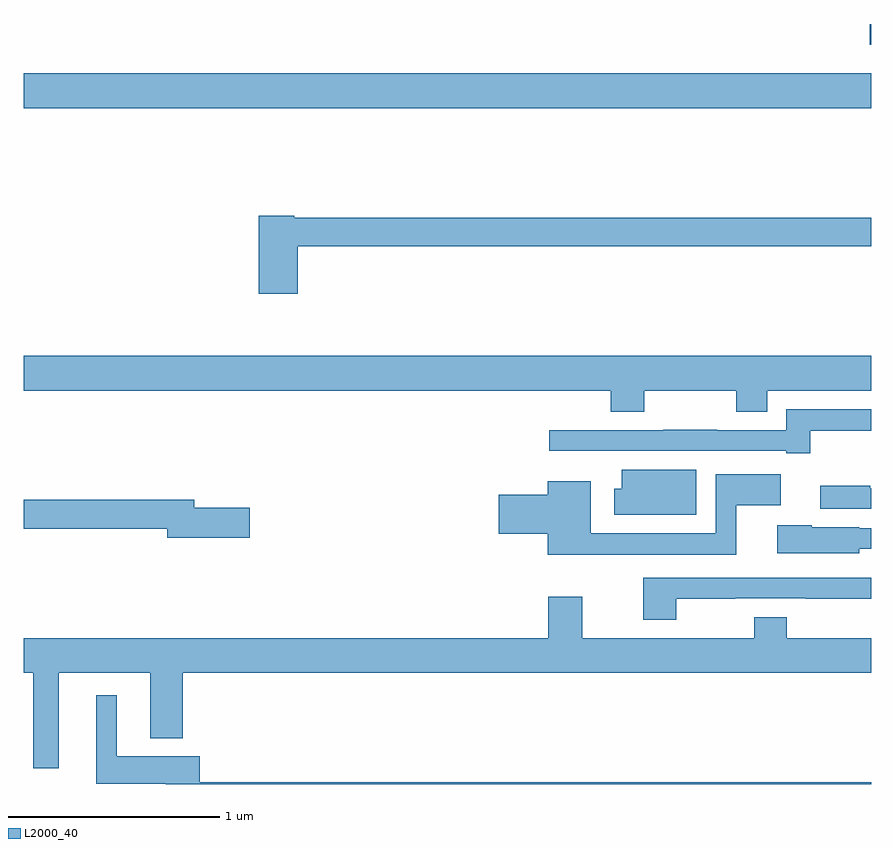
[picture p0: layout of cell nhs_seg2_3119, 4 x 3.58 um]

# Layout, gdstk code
import gdstk
lib = gdstk.Library(unit=1e-6, precision=1e-09)
def R(c, l, rs):  # rectangles x0, y0, x1, y1
    for r in rs: c.add(gdstk.rectangle(r[:2], r[2:], *l))
def P(c, l, *ps):  # polygons
    for p in ps: c.add(gdstk.Polygon(p, *l))
L2000_40 = (2000, 40)

nhs_seg2_3119 = lib.new_cell('nhs_seg2_3119')
R(nhs_seg2_3119, L2000_40, [(275,628.988,279,629.152), (278.991,629.288,279,629.385)])
P(nhs_seg2_3119, L2000_40, [(276.293,628.336),(279,628.336),(279,628.472),(276.276,628.472),(276.276,628.48),(276.11,628.48),(276.11,628.113),(276.293,628.113)],
  [(277.929,627.656),(278.362,627.656),(278.362,627.557),(278.509,627.557),(278.509,627.656),(279,627.656),(279,627.82),(275,627.82),(275,627.656),(277.769,627.656),(277.769,627.557),(277.929,627.557)],
  [(278.711,627.466),(279,627.466),(279,627.567),(278.597,627.567),(278.597,627.468),(278.273,627.468),(278.273,627.47),(278.017,627.47),(278.017,627.468),(277.479,627.468),(277.479,627.371),(277.727,627.371),(277.727,627.372),(278.597,627.372),(278.597,627.36),(278.711,627.36)],
  [(278.173,627.283),(277.823,627.283),(277.823,627.193),(277.787,627.193),(277.787,627.071),(278.173,627.071)],
  [(278.363,627.116),(278.572,627.116),(278.572,627.262),(278.265,627.262),(278.265,626.983),(277.675,626.983),(277.675,627.229),(277.472,627.229),(277.472,627.164),(277.242,627.164),(277.242,626.981),(277.472,626.981),(277.472,626.882),(278.363,626.882)],
  [(279,627.195),(278.995,627.195),(278.995,627.208),(278.759,627.208),(278.759,627.099),(279,627.099)],
  [(276.067,627.104),(275.806,627.104),(275.806,627.14),(275,627.14),(275,627.004),(275.678,627.004),(275.678,626.962),(276.067,626.962)],
  [(278.943,626.91),(279,626.91),(279,627.006),(278.943,627.006),(278.943,627.01),(278.718,627.01),(278.718,627.021),(278.556,627.021),(278.556,626.888),(278.943,626.888)],
  [(278.079,626.675),(278.357,626.675),(278.357,626.676),(278.689,626.676),(278.689,626.675),(279,626.675),(279,626.772),(277.924,626.772),(277.924,626.574),(278.079,626.574)],
  [(275.167,626.324),(275.597,626.324),(275.597,626.015),(275.75,626.015),(275.75,626.324),(279,626.324),(279,626.488),(278.601,626.488),(278.601,626.587),(278.446,626.587),(278.446,626.488),(277.635,626.488),(277.635,626.683),(277.475,626.683),(277.475,626.488),(275,626.488),(275,626.324),(275.046,626.324),(275.046,625.875),(275.167,625.875)],
  [(279,625.808),(275.831,625.808),(275.831,625.93),(275.44,625.93),(275.44,626.218),(275.342,626.218),(275.342,625.802),(275.672,625.802),(275.672,625.8),(279,625.8)])

lib.write_gds('nhs_seg2_3119.gds')
